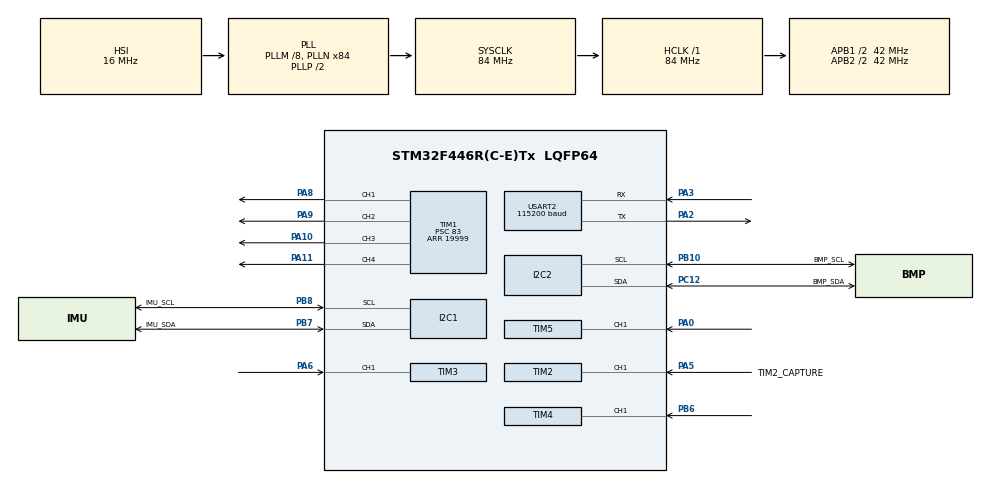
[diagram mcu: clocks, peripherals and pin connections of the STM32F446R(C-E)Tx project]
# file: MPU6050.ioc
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Mcu.Family=STM32F4
Mcu.Name=STM32F446R(C-E)Tx
Mcu.Package=LQFP64
NVIC.PriorityGroup=NVIC_PRIORITYGROUP_4
NVIC.TIM2_IRQn=true\:0\:0\:false\:false\:true\:true\:true\:true
NVIC.TIM3_IRQn=true\:0\:0\:false\:false\:true\:true\:true\:true
NVIC.TIM4_IRQn=true\:0\:0\:false\:false\:true\:true\:true\:true
NVIC.TIM5_IRQn=true\:0\:0\:false\:false\:true\:true\:true\:true
NVIC.TIM6_DAC_IRQn=true\:0\:0\:false\:false\:true\:true\:true\:true
NVIC.USART2_IRQn=true\:0\:0\:false\:false\:true\:true\:true\:true
PA0-WKUP.Signal=S_TIM5_CH1
PA10.Signal=S_TIM1_CH3
PA11.Signal=S_TIM1_CH4
PA13.Mode=Serial_Wire
PA13.Signal=SYS_JTMS-SWDIO
PA14.Mode=Serial_Wire
PA14.Signal=SYS_JTCK-SWCLK
PA2.Mode=Asynchronous
PA2.Signal=USART2_TX
PA3.Mode=Asynchronous
PA3.Signal=USART2_RX
PA5.GPIO_Label=TIM2_CAPTURE
PA5.Signal=S_TIM2_CH1_ETR
PA6.Signal=S_TIM3_CH1
PA8.Signal=S_TIM1_CH1
PA9.Signal=S_TIM1_CH2
PB10.GPIO_Label=BMP_SCL
PB10.Mode=I2C
PB10.Signal=I2C2_SCL
PB6.Signal=S_TIM4_CH1
PB7.GPIO_Label=IMU_SDA
PB7.Mode=I2C
PB7.Signal=I2C1_SDA
PB8.GPIO_Label=IMU_SCL
PB8.Mode=I2C
PB8.Signal=I2C1_SCL
PC12.GPIO_Label=BMP_SDA
PC12.Mode=I2C
PC12.Signal=I2C2_SDA
PH0-OSC_IN.Mode=HSE-External-Oscillator
PH0-OSC_IN.Signal=RCC_OSC_IN
PH1-OSC_OUT.Mode=HSE-External-Oscillator
PH1-OSC_OUT.Signal=RCC_OSC_OUT
ProjectManager.HeapSize=0x200
ProjectManager.StackSize=0x400
ProjectManager.TargetToolchain=STM32CubeIDE
RCC.AHBFreq_Value=84000000
RCC.APB1CLKDivider=RCC_HCLK_DIV2
RCC.APB1Freq_Value=42000000
RCC.APB1TimFreq_Value=84000000
RCC.APB2CLKDivider=RCC_HCLK_DIV2
RCC.APB2Freq_Value=42000000
RCC.APB2TimFreq_Value=84000000
RCC.CortexFreq_Value=84000000
RCC.HCLKFreq_Value=84000000
RCC.HSE_VALUE=8000000
RCC.PLLM=8
RCC.PLLN=84
RCC.PLLQ=7
RCC.SYSCLKFreq_VALUE=84000000
RCC.SYSCLKSource=RCC_SYSCLKSOURCE_PLLCLK
RCC.USBFreq_Value=24000000
RCC.VCOOutputFreq_Value=168000000
SH.S_TIM1_CH1.0=TIM1_CH1,PWM Generation1 CH1
SH.S_TIM1_CH2.0=TIM1_CH2,PWM Generation2 CH2
SH.S_TIM1_CH3.0=TIM1_CH3,PWM Generation3 CH3
SH.S_TIM1_CH4.0=TIM1_CH4,PWM Generation4 CH4
SH.S_TIM2_CH1_ETR.0=TIM2_CH1,PWM_Input_1
SH.S_TIM3_CH1.0=TIM3_CH1,PWM_Input_1
SH.S_TIM4_CH1.0=TIM4_CH1,PWM_Input_1
SH.S_TIM5_CH1.0=TIM5_CH1,PWM_Input_1
TIM1.Channel-PWM\ Generation1\ CH1=TIM_CHANNEL_1
TIM1.Channel-PWM\ Generation2\ CH2=TIM_CHANNEL_2
TIM1.Channel-PWM\ Generation3\ CH3=TIM_CHANNEL_3
TIM1.Channel-PWM\ Generation4\ CH4=TIM_CHANNEL_4
TIM1.Period=19999
TIM1.Prescaler=83
TIM2.Prescaler=83
TIM3.Prescaler=83
TIM4.Prescaler=83
TIM5.Prescaler=83
TIM6.AutoReloadPreload=TIM_AUTORELOAD_PRELOAD_DISABLE
TIM6.Period=999
TIM6.Prescaler=83
USART2.BaudRate=115200
USART2.VirtualMode=VM_ASYNC
VP_TIM1_VS_ClockSourceINT.Mode=Internal
VP_TIM2_VS_ClockSourceINT.Mode=Internal
VP_TIM3_VS_ClockSourceINT.Mode=Internal
VP_TIM4_VS_ClockSourceINT.Mode=Internal
VP_TIM5_VS_ClockSourceINT.Mode=Internal
VP_TIM6_VS_ClockSourceINT.Mode=Enable_Timer
board=custom

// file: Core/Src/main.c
/* USER CODE BEGIN Header */
/**
  ******************************************************************************
  * @file           : main.c
  * @brief          : Main program body
  ******************************************************************************
  * @attention
  *
  * Copyright (c) 2026 STMicroelectronics.
  * All rights reserved.
  *
  * This software is licensed under terms that can be found in the LICENSE file
  * in the root directory of this software component.
  * If no LICENSE file comes with this software, it is provided AS-IS.
  *
  ******************************************************************************
  */
/* USER CODE END Header */
#include "main.h"

/* USER CODE BEGIN Includes */

#include <stdint.h>
#include <stdio.h>
#include "timer.h"
#include "mpu6050.h"
#include "bmp280.h"
#include <rc_receiver.h>
#include <flight_controller.h>

/* USER CODE END Includes */

/* USER CODE BEGIN PM */
#define QUADX
#define RC_PULSE_MIN_US   1150  //for simonk esc's(30A) to avoid motor delay when starting the drone
#define RC_PULSE_MAX_US   2000
#define MINCOMMAND	      1000

#define dt  		(0.01)
#define COMP_FILT_ALPHA       0.05000000f

/* USER CODE END PM */

I2C_HandleTypeDef hi2c1;
I2C_HandleTypeDef hi2c2;

TIM_HandleTypeDef htim1;
TIM_HandleTypeDef htim2;
TIM_HandleTypeDef htim3;
TIM_HandleTypeDef htim4;
TIM_HandleTypeDef htim5;
TIM_HandleTypeDef htim6;

UART_HandleTypeDef huart2;

/* USER CODE BEGIN PV */

//create a variable type to store throttle commands

FlightController_t fc;

/* USER CODE END PV */

void SystemClock_Config(void);
static void MX_GPIO_Init(void);
static void MX_I2C1_Init(void);
static void MX_USART2_UART_Init(void);
static void MX_I2C2_Init(void);
static void MX_TIM1_Init(void);
static void MX_TIM2_Init(void);
static void MX_TIM3_Init(void);
static void MX_TIM4_Init(void);
static void MX_TIM5_Init(void);
static void MX_TIM6_Init(void);

/* USER CODE BEGIN 0 */
//for printf functions

int __io_putchar(int ch) {
  HAL_UART_Transmit(&huart2, (uint8_t *)&ch, 1, HAL_MAX_DELAY);
  return ch;
}

int _write(int file, char *ptr, int len) {
  int DataIdx;
  for (DataIdx = 0; DataIdx < len; DataIdx++) {
    __io_putchar(*ptr++);
  }
  return len;
}

//PWM signal capture isr and measure width

//receive throttle signal from RC
void HAL_TIM_IC_CaptureCallback(TIM_HandleTypeDef *htim)
{
    if (htim->Channel != HAL_TIM_ACTIVE_CHANNEL_1)
        return;

    uint32_t period = HAL_TIM_ReadCapturedValue(htim, TIM_CHANNEL_1);
    if (period == 0U)
        return;
    uint32_t width = HAL_TIM_ReadCapturedValue(htim, TIM_CHANNEL_2);

    /* Reject implausible pulse widths instead of trusting raw capture */
    if (width < RC_PULSE_MIN_US || width > RC_PULSE_MAX_US)
        return;

    switch ((uint32_t)htim->Instance)
    {
        case (uint32_t)TIM2:
        		fc.rawPWM.roll = width;
            break;
        case (uint32_t)TIM3:
        		fc.rawPWM.pitch = width;
            break;
        case (uint32_t)TIM4:
        		fc.rawPWM.throttle = width;
            break;
        case (uint32_t)TIM5:
        		fc.rawPWM.yaw = width;
            break;
        default:
            break;
    }
}

/* This function executes exactly every 1ms when TIM6 overflows */
void HAL_TIM_PeriodElapsedCallback(TIM_HandleTypeDef *htim)
{
    if (htim->Instance == TIM6)
    {
        Scheduler_Tick();
    }
}

/* USER CODE END 0 */

int main(void)
{

  /* MCU Configuration--------------------------------------------------------*/

  /* Reset of all peripherals, Initializes the Flash interface and the Systick. */
  HAL_Init();

  /* Configure the system clock */
  SystemClock_Config();

  /* USER CODE BEGIN SysInit */
  SystemCoreClockUpdate();
  /* USER CODE END SysInit */

  /* Initialize all configured peripherals */
  MX_GPIO_Init();
  MX_I2C1_Init();
  MX_USART2_UART_Init();
  MX_I2C2_Init();
  MX_TIM1_Init();
  MX_TIM2_Init();
  MX_TIM3_Init();
  MX_TIM4_Init();
  MX_TIM5_Init();
  MX_TIM6_Init();
  /* USER CODE BEGIN 2 */

  Motor_PWM_Start();
  mpu6050_init();
  //imu calibration
  //calibrate_ACC(&imu);
 // calibrate_gyro(&imu);
  //Controller_Init(&fc);
  RC_InputCapture_Start();
  printf("System started!\r\n");
  /* USER CODE END 2 */

  /* Infinite loop */
  /* USER CODE BEGIN WHILE */

while (1)
{
//	RC_Process(&fc.rawPWM, &fc.rc_cmd);
//	MPU6050_Read_All(&imu);                 //computes angular vel in x,y,z dir
//	Attitude_Update(&imu, &fc.attitude, dt);  //computes roll,pitch, and yaw
//
//	printf("Roll: %f, pitch: %f, Yaw: %f\r\n", fc.attitude.angle_roll, fc.attitude.angle_pitch, fc.attitude.angle_yaw);
//
//  	Controller_Update(&fc);
// 	Motor_mix(&fc);
	//Motor_Write(fc.motors);
	//printf("M1: %.2f, M2: %.2f, M3: %.2f, M4:%.2f\r\n", fc.rawPWM.throttle,fc.rawPWM.roll, fc.rawPWM.pitch, fc.rawPWM.yaw);

	HAL_Delay(500);
    /* USER CODE END WHILE */

}
}

void SystemClock_Config(void)
{
  RCC_OscInitTypeDef RCC_OscInitStruct = {0};
  RCC_ClkInitTypeDef RCC_ClkInitStruct = {0};

  /** Configure the main internal regulator output voltage
  */
  __HAL_RCC_PWR_CLK_ENABLE();
  __HAL_PWR_VOLTAGESCALING_CONFIG(PWR_REGULATOR_VOLTAGE_SCALE3);

  /** Initializes the RCC Oscillators according to the specified parameters
  * in the RCC_OscInitTypeDef structure.
  */
  RCC_OscInitStruct.OscillatorType = RCC_OSCILLATORTYPE_HSI;
  RCC_OscInitStruct.HSIState = RCC_HSI_ON;
  RCC_OscInitStruct.HSICalibrationValue = RCC_HSICALIBRATION_DEFAULT;
  RCC_OscInitStruct.PLL.PLLState = RCC_PLL_ON;
  RCC_OscInitStruct.PLL.PLLSource = RCC_PLLSOURCE_HSI;
  RCC_OscInitStruct.PLL.PLLM = 8;
  RCC_OscInitStruct.PLL.PLLN = 84;
  RCC_OscInitStruct.PLL.PLLP = RCC_PLLP_DIV2;
  RCC_OscInitStruct.PLL.PLLQ = 7;
  RCC_OscInitStruct.PLL.PLLR = 2;
  if (HAL_RCC_OscConfig(&RCC_OscInitStruct) != HAL_OK)
  {
    Error_Handler();
  }

  /** Initializes the CPU, AHB and APB buses clocks
  */
  RCC_ClkInitStruct.ClockType = RCC_CLOCKTYPE_HCLK|RCC_CLOCKTYPE_SYSCLK
                              |RCC_CLOCKTYPE_PCLK1|RCC_CLOCKTYPE_PCLK2;
  RCC_ClkInitStruct.SYSCLKSource = RCC_SYSCLKSOURCE_PLLCLK;
  RCC_ClkInitStruct.AHBCLKDivider = RCC_SYSCLK_DIV1;
  RCC_ClkInitStruct.APB1CLKDivider = RCC_HCLK_DIV2;
  RCC_ClkInitStruct.APB2CLKDivider = RCC_HCLK_DIV2;

  if (HAL_RCC_ClockConfig(&RCC_ClkInitStruct, FLASH_LATENCY_2) != HAL_OK)
  {
    Error_Handler();
  }
}

static void MX_I2C1_Init(void)
{

  hi2c1.Instance = I2C1;
  hi2c1.Init.ClockSpeed = 100000;
  hi2c1.Init.DutyCycle = I2C_DUTYCYCLE_2;
  hi2c1.Init.OwnAddress1 = 0;
  hi2c1.Init.AddressingMode = I2C_ADDRESSINGMODE_7BIT;
  hi2c1.Init.DualAddressMode = I2C_DUALADDRESS_DISABLE;
  hi2c1.Init.OwnAddress2 = 0;
  hi2c1.Init.GeneralCallMode = I2C_GENERALCALL_DISABLE;
  hi2c1.Init.NoStretchMode = I2C_NOSTRETCH_DISABLE;
  if (HAL_I2C_Init(&hi2c1) != HAL_OK)
  {
    Error_Handler();
  }

}

static void MX_I2C2_Init(void)
{

  hi2c2.Instance = I2C2;
  hi2c2.Init.ClockSpeed = 100000;
  hi2c2.Init.DutyCycle = I2C_DUTYCYCLE_2;
  hi2c2.Init.OwnAddress1 = 0;
  hi2c2.Init.AddressingMode = I2C_ADDRESSINGMODE_7BIT;
  hi2c2.Init.DualAddressMode = I2C_DUALADDRESS_DISABLE;
  hi2c2.Init.OwnAddress2 = 0;
  hi2c2.Init.GeneralCallMode = I2C_GENERALCALL_DISABLE;
  hi2c2.Init.NoStretchMode = I2C_NOSTRETCH_DISABLE;
  if (HAL_I2C_Init(&hi2c2) != HAL_OK)
  {
    Error_Handler();
  }

}

static void MX_TIM1_Init(void)
{

  TIM_ClockConfigTypeDef sClockSourceConfig = {0};
  TIM_MasterConfigTypeDef sMasterConfig = {0};
  TIM_OC_InitTypeDef sConfigOC = {0};
  TIM_BreakDeadTimeConfigTypeDef sBreakDeadTimeConfig = {0};

  htim1.Instance = TIM1;
  htim1.Init.Prescaler = 83;
  htim1.Init.CounterMode = TIM_COUNTERMODE_UP;
  htim1.Init.Period = 19999;
  htim1.Init.ClockDivision = TIM_CLOCKDIVISION_DIV1;
  htim1.Init.RepetitionCounter = 0;
  htim1.Init.AutoReloadPreload = TIM_AUTORELOAD_PRELOAD_DISABLE;
  if (HAL_TIM_Base_Init(&htim1) != HAL_OK)
  {
    Error_Handler();
  }
  sClockSourceConfig.ClockSource = TIM_CLOCKSOURCE_INTERNAL;
  if (HAL_TIM_ConfigClockSource(&htim1, &sClockSourceConfig) != HAL_OK)
  {
    Error_Handler();
  }
  if (HAL_TIM_PWM_Init(&htim1) != HAL_OK)
  {
    Error_Handler();
  }
  sMasterConfig.MasterOutputTrigger = TIM_TRGO_RESET;
  sMasterConfig.MasterSlaveMode = TIM_MASTERSLAVEMODE_DISABLE;
  if (HAL_TIMEx_MasterConfigSynchronization(&htim1, &sMasterConfig) != HAL_OK)
  {
    Error_Handler();
  }
  sConfigOC.OCMode = TIM_OCMODE_PWM1;
  sConfigOC.Pulse = 0;
  sConfigOC.OCPolarity = TIM_OCPOLARITY_HIGH;
  sConfigOC.OCNPolarity = TIM_OCNPOLARITY_HIGH;
  sConfigOC.OCFastMode = TIM_OCFAST_DISABLE;
  sConfigOC.OCIdleState = TIM_OCIDLESTATE_RESET;
  sConfigOC.OCNIdleState = TIM_OCNIDLESTATE_RESET;
  if (HAL_TIM_PWM_ConfigChannel(&htim1, &sConfigOC, TIM_CHANNEL_1) != HAL_OK)
  {
    Error_Handler();
  }
  if (HAL_TIM_PWM_ConfigChannel(&htim1, &sConfigOC, TIM_CHANNEL_2) != HAL_OK)
  {
    Error_Handler();
  }
  if (HAL_TIM_PWM_ConfigChannel(&htim1, &sConfigOC, TIM_CHANNEL_3) != HAL_OK)
  {
    Error_Handler();
  }
  if (HAL_TIM_PWM_ConfigChannel(&htim1, &sConfigOC, TIM_CHANNEL_4) != HAL_OK)
  {
    Error_Handler();
  }
  sBreakDeadTimeConfig.OffStateRunMode = TIM_OSSR_DISABLE;
  sBreakDeadTimeConfig.OffStateIDLEMode = TIM_OSSI_DISABLE;
  sBreakDeadTimeConfig.LockLevel = TIM_LOCKLEVEL_OFF;
  sBreakDeadTimeConfig.DeadTime = 0;
  sBreakDeadTimeConfig.BreakState = TIM_BREAK_DISABLE;
  sBreakDeadTimeConfig.BreakPolarity = TIM_BREAKPOLARITY_HIGH;
  sBreakDeadTimeConfig.AutomaticOutput = TIM_AUTOMATICOUTPUT_DISABLE;
  if (HAL_TIMEx_ConfigBreakDeadTime(&htim1, &sBreakDeadTimeConfig) != HAL_OK)
  {
    Error_Handler();
  }
  HAL_TIM_MspPostInit(&htim1);

}

static void MX_TIM2_Init(void)
{

  TIM_ClockConfigTypeDef sClockSourceConfig = {0};
  TIM_SlaveConfigTypeDef sSlaveConfig = {0};
  TIM_IC_InitTypeDef sConfigIC = {0};
  TIM_MasterConfigTypeDef sMasterConfig = {0};

  htim2.Instance = TIM2;
  htim2.Init.Prescaler = 83;
  htim2.Init.CounterMode = TIM_COUNTERMODE_UP;
  htim2.Init.Period = 4294967295;
  htim2.Init.ClockDivision = TIM_CLOCKDIVISION_DIV1;
  htim2.Init.AutoReloadPreload = TIM_AUTORELOAD_PRELOAD_DISABLE;
  if (HAL_TIM_Base_Init(&htim2) != HAL_OK)
  {
    Error_Handler();
  }
  sClockSourceConfig.ClockSource = TIM_CLOCKSOURCE_INTERNAL;
  if (HAL_TIM_ConfigClockSource(&htim2, &sClockSourceConfig) != HAL_OK)
  {
    Error_Handler();
  }
  if (HAL_TIM_IC_Init(&htim2) != HAL_OK)
  {
    Error_Handler();
  }
  sSlaveConfig.SlaveMode = TIM_SLAVEMODE_RESET;
  sSlaveConfig.InputTrigger = TIM_TS_TI1FP1;
  sSlaveConfig.TriggerPolarity = TIM_INPUTCHANNELPOLARITY_RISING;
  sSlaveConfig.TriggerPrescaler = TIM_ICPSC_DIV1;
  sSlaveConfig.TriggerFilter = 0;
  if (HAL_TIM_SlaveConfigSynchro(&htim2, &sSlaveConfig) != HAL_OK)
  {
    Error_Handler();
  }
  sConfigIC.ICPolarity = TIM_INPUTCHANNELPOLARITY_RISING;
  sConfigIC.ICSelection = TIM_ICSELECTION_DIRECTTI;
  sConfigIC.ICPrescaler = TIM_ICPSC_DIV1;
  sConfigIC.ICFilter = 0;
  if (HAL_TIM_IC_ConfigChannel(&htim2, &sConfigIC, TIM_CHANNEL_1) != HAL_OK)
  {
    Error_Handler();
  }
  sConfigIC.ICPolarity = TIM_INPUTCHANNELPOLARITY_FALLING;
  sConfigIC.ICSelection = TIM_ICSELECTION_INDIRECTTI;
  if (HAL_TIM_IC_ConfigChannel(&htim2, &sConfigIC, TIM_CHANNEL_2) != HAL_OK)
  {
    Error_Handler();
  }
  sMasterConfig.MasterOutputTrigger = TIM_TRGO_RESET;
  sMasterConfig.MasterSlaveMode = TIM_MASTERSLAVEMODE_DISABLE;
  if (HAL_TIMEx_MasterConfigSynchronization(&htim2, &sMasterConfig) != HAL_OK)
  {
    Error_Handler();
  }

}

static void MX_TIM3_Init(void)
{

  TIM_ClockConfigTypeDef sClockSourceConfig = {0};
  TIM_SlaveConfigTypeDef sSlaveConfig = {0};
  TIM_IC_InitTypeDef sConfigIC = {0};
  TIM_MasterConfigTypeDef sMasterConfig = {0};

  htim3.Instance = TIM3;
  htim3.Init.Prescaler = 83;
  htim3.Init.CounterMode = TIM_COUNTERMODE_UP;
  htim3.Init.Period = 65535;
  htim3.Init.ClockDivision = TIM_CLOCKDIVISION_DIV1;
  htim3.Init.AutoReloadPreload = TIM_AUTORELOAD_PRELOAD_DISABLE;
  if (HAL_TIM_Base_Init(&htim3) != HAL_OK)
  {
    Error_Handler();
  }
  sClockSourceConfig.ClockSource = TIM_CLOCKSOURCE_INTERNAL;
  if (HAL_TIM_ConfigClockSource(&htim3, &sClockSourceConfig) != HAL_OK)
  {
    Error_Handler();
  }
  if (HAL_TIM_IC_Init(&htim3) != HAL_OK)
  {
    Error_Handler();
  }
  sSlaveConfig.SlaveMode = TIM_SLAVEMODE_RESET;
  sSlaveConfig.InputTrigger = TIM_TS_TI1FP1;
  sSlaveConfig.TriggerPolarity = TIM_INPUTCHANNELPOLARITY_RISING;
  sSlaveConfig.TriggerPrescaler = TIM_ICPSC_DIV1;
  sSlaveConfig.TriggerFilter = 0;
  if (HAL_TIM_SlaveConfigSynchro(&htim3, &sSlaveConfig) != HAL_OK)
  {
    Error_Handler();
  }
  sConfigIC.ICPolarity = TIM_INPUTCHANNELPOLARITY_RISING;
  sConfigIC.ICSelection = TIM_ICSELECTION_DIRECTTI;
  sConfigIC.ICPrescaler = TIM_ICPSC_DIV1;
  sConfigIC.ICFilter = 0;
  if (HAL_TIM_IC_ConfigChannel(&htim3, &sConfigIC, TIM_CHANNEL_1) != HAL_OK)
  {
    Error_Handler();
  }
  sConfigIC.ICPolarity = TIM_INPUTCHANNELPOLARITY_FALLING;
  sConfigIC.ICSelection = TIM_ICSELECTION_INDIRECTTI;
  if (HAL_TIM_IC_ConfigChannel(&htim3, &sConfigIC, TIM_CHANNEL_2) != HAL_OK)
  {
    Error_Handler();
  }
  sMasterConfig.MasterOutputTrigger = TIM_TRGO_RESET;
  sMasterConfig.MasterSlaveMode = TIM_MASTERSLAVEMODE_DISABLE;
  if (HAL_TIMEx_MasterConfigSynchronization(&htim3, &sMasterConfig) != HAL_OK)
  {
    Error_Handler();
  }

}

static void MX_TIM4_Init(void)
{

  TIM_ClockConfigTypeDef sClockSourceConfig = {0};
  TIM_SlaveConfigTypeDef sSlaveConfig = {0};
  TIM_IC_InitTypeDef sConfigIC = {0};
  TIM_MasterConfigTypeDef sMasterConfig = {0};

  htim4.Instance = TIM4;
  htim4.Init.Prescaler = 83;
  htim4.Init.CounterMode = TIM_COUNTERMODE_UP;
  htim4.Init.Period = 65535;
  htim4.Init.ClockDivision = TIM_CLOCKDIVISION_DIV1;
  htim4.Init.AutoReloadPreload = TIM_AUTORELOAD_PRELOAD_DISABLE;
  if (HAL_TIM_Base_Init(&htim4) != HAL_OK)
  {
    Error_Handler();
  }
  sClockSourceConfig.ClockSource = TIM_CLOCKSOURCE_INTERNAL;
  if (HAL_TIM_ConfigClockSource(&htim4, &sClockSourceConfig) != HAL_OK)
  {
    Error_Handler();
  }
  if (HAL_TIM_IC_Init(&htim4) != HAL_OK)
  {
    Error_Handler();
  }
  sSlaveConfig.SlaveMode = TIM_SLAVEMODE_RESET;
  sSlaveConfig.InputTrigger = TIM_TS_TI1FP1;
  sSlaveConfig.TriggerPolarity = TIM_INPUTCHANNELPOLARITY_RISING;
  sSlaveConfig.TriggerPrescaler = TIM_ICPSC_DIV1;
  sSlaveConfig.TriggerFilter = 0;
  if (HAL_TIM_SlaveConfigSynchro(&htim4, &sSlaveConfig) != HAL_OK)
  {
    Error_Handler();
  }
  sConfigIC.ICPolarity = TIM_INPUTCHANNELPOLARITY_RISING;
  sConfigIC.ICSelection = TIM_ICSELECTION_DIRECTTI;
  sConfigIC.ICPrescaler = TIM_ICPSC_DIV1;
  sConfigIC.ICFilter = 0;
  if (HAL_TIM_IC_ConfigChannel(&htim4, &sConfigIC, TIM_CHANNEL_1) != HAL_OK)
  {
    Error_Handler();
  }
  sConfigIC.ICPolarity = TIM_INPUTCHANNELPOLARITY_FALLING;
  sConfigIC.ICSelection = TIM_ICSELECTION_INDIRECTTI;
  if (HAL_TIM_IC_ConfigChannel(&htim4, &sConfigIC, TIM_CHANNEL_2) != HAL_OK)
  {
    Error_Handler();
  }
  sMasterConfig.MasterOutputTrigger = TIM_TRGO_RESET;
  sMasterConfig.MasterSlaveMode = TIM_MASTERSLAVEMODE_DISABLE;
  if (HAL_TIMEx_MasterConfigSynchronization(&htim4, &sMasterConfig) != HAL_OK)
  {
    Error_Handler();
  }

}

static void MX_TIM5_Init(void)
{

  TIM_ClockConfigTypeDef sClockSourceConfig = {0};
  TIM_SlaveConfigTypeDef sSlaveConfig = {0};
  TIM_IC_InitTypeDef sConfigIC = {0};
  TIM_MasterConfigTypeDef sMasterConfig = {0};

  htim5.Instance = TIM5;
  htim5.Init.Prescaler = 83;
  htim5.Init.CounterMode = TIM_COUNTERMODE_UP;
  htim5.Init.Period = 4294967295;
  htim5.Init.ClockDivision = TIM_CLOCKDIVISION_DIV1;
  htim5.Init.AutoReloadPreload = TIM_AUTORELOAD_PRELOAD_DISABLE;
  if (HAL_TIM_Base_Init(&htim5) != HAL_OK)
  {
    Error_Handler();
  }
  sClockSourceConfig.ClockSource = TIM_CLOCKSOURCE_INTERNAL;
  if (HAL_TIM_ConfigClockSource(&htim5, &sClockSourceConfig) != HAL_OK)
  {
    Error_Handler();
  }
  if (HAL_TIM_IC_Init(&htim5) != HAL_OK)
  {
    Error_Handler();
  }
  sSlaveConfig.SlaveMode = TIM_SLAVEMODE_RESET;
  sSlaveConfig.InputTrigger = TIM_TS_TI1FP1;
  sSlaveConfig.TriggerPolarity = TIM_INPUTCHANNELPOLARITY_RISING;
  sSlaveConfig.TriggerPrescaler = TIM_ICPSC_DIV1;
  sSlaveConfig.TriggerFilter = 0;
  if (HAL_TIM_SlaveConfigSynchro(&htim5, &sSlaveConfig) != HAL_OK)
  {
    Error_Handler();
  }
  sConfigIC.ICPolarity = TIM_INPUTCHANNELPOLARITY_RISING;
  sConfigIC.ICSelection = TIM_ICSELECTION_DIRECTTI;
  sConfigIC.ICPrescaler = TIM_ICPSC_DIV1;
  sConfigIC.ICFilter = 0;
  if (HAL_TIM_IC_ConfigChannel(&htim5, &sConfigIC, TIM_CHANNEL_1) != HAL_OK)
  {
    Error_Handler();
  }
  sConfigIC.ICPolarity = TIM_INPUTCHANNELPOLARITY_FALLING;
  sConfigIC.ICSelection = TIM_ICSELECTION_INDIRECTTI;
  if (HAL_TIM_IC_ConfigChannel(&htim5, &sConfigIC, TIM_CHANNEL_2) != HAL_OK)
  {
    Error_Handler();
  }
  sMasterConfig.MasterOutputTrigger = TIM_TRGO_RESET;
  sMasterConfig.MasterSlaveMode = TIM_MASTERSLAVEMODE_DISABLE;
  if (HAL_TIMEx_MasterConfigSynchronization(&htim5, &sMasterConfig) != HAL_OK)
  {
    Error_Handler();
  }

}

static void MX_TIM6_Init(void)
{

  TIM_MasterConfigTypeDef sMasterConfig = {0};

  htim6.Instance = TIM6;
  htim6.Init.Prescaler = 83;
  htim6.Init.CounterMode = TIM_COUNTERMODE_UP;
  htim6.Init.Period = 999;
  htim6.Init.AutoReloadPreload = TIM_AUTORELOAD_PRELOAD_DISABLE;
  if (HAL_TIM_Base_Init(&htim6) != HAL_OK)
  {
    Error_Handler();
  }
  sMasterConfig.MasterOutputTrigger = TIM_TRGO_RESET;
  sMasterConfig.MasterSlaveMode = TIM_MASTERSLAVEMODE_DISABLE;
  if (HAL_TIMEx_MasterConfigSynchronization(&htim6, &sMasterConfig) != HAL_OK)
  {
    Error_Handler();
  }

}

static void MX_USART2_UART_Init(void)
{

  huart2.Instance = USART2;
  huart2.Init.BaudRate = 115200;
  huart2.Init.WordLength = UART_WORDLENGTH_8B;
  huart2.Init.StopBits = UART_STOPBITS_1;
  huart2.Init.Parity = UART_PARITY_NONE;
  huart2.Init.Mode = UART_MODE_TX_RX;
  huart2.Init.HwFlowCtl = UART_HWCONTROL_NONE;
  huart2.Init.OverSampling = UART_OVERSAMPLING_16;
  if (HAL_UART_Init(&huart2) != HAL_OK)
  {
    Error_Handler();
  }

}

static void MX_GPIO_Init(void)
{

  /* GPIO Ports Clock Enable */
  __HAL_RCC_GPIOH_CLK_ENABLE();
  __HAL_RCC_GPIOA_CLK_ENABLE();
  __HAL_RCC_GPIOB_CLK_ENABLE();
  __HAL_RCC_GPIOC_CLK_ENABLE();

}

void Error_Handler(void)
{
  __disable_irq();
  while (1)
  {
  }
}
